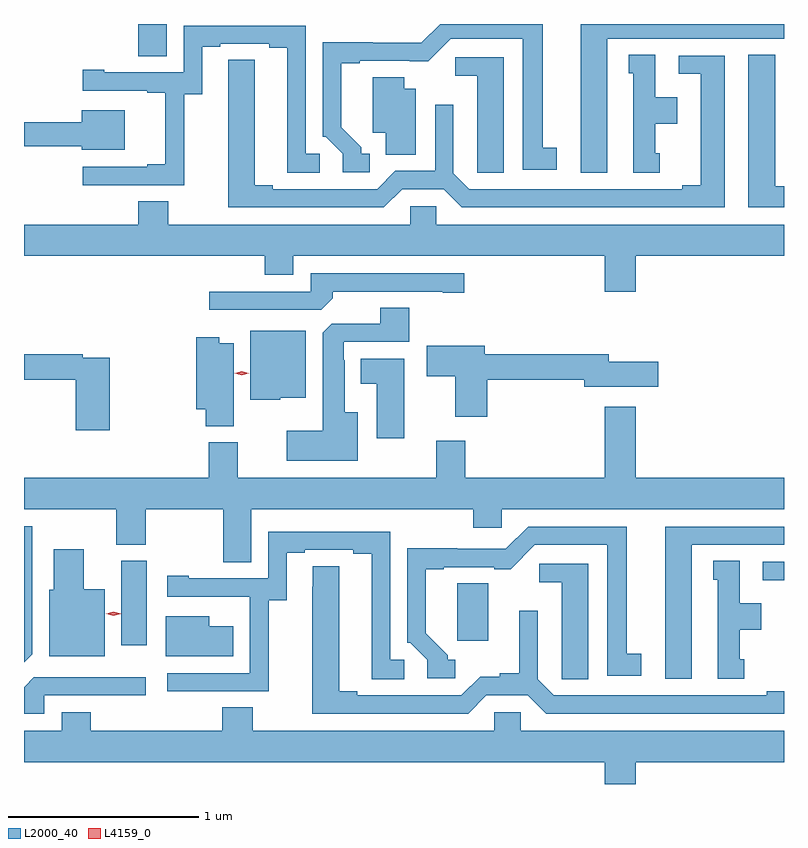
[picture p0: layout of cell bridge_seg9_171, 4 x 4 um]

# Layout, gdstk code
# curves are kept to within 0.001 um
import gdstk
lib = gdstk.Library(unit=1e-6, precision=1e-09)
def R(c, l, rs):  # rectangles x0, y0, x1, y1
    for r in rs: c.add(gdstk.rectangle(r[:2], r[2:], *l))
def P(c, l, *ps):  # polygons
    for p in ps: c.add(gdstk.Polygon(p, *l))
L2000_40 = (2000, 40)
L4159_0 = (4159, 0)

bridge_seg9_171 = lib.new_cell('bridge_seg9_171')
R(bridge_seg9_171, L2000_40, [(186.44,1235.664,186.574,1236.108), (189.816,1236.006,189.927,1236.102), (186.527,1238.764,186.679,1238.933)])
P(bridge_seg9_171, L2000_40, [(187.747,1238.25),(187.702,1238.25),(187.702,1238.285),(187.597,1238.39),(187.597,1238.727),(187.693,1238.727),(187.693,1238.739),(188.054,1238.738),(188.172,1238.856),(188.552,1238.856),(188.552,1238.166),(188.731,1238.166),(188.731,1238.282),(188.656,1238.282),(188.656,1238.933),(188.117,1238.933),(188.019,1238.835),(187.763,1238.835),(187.763,1238.837),(187.5,1238.837),(187.5,1238.34),(187.515,1238.34),(187.605,1238.25),(187.605,1238.154),(187.747,1238.154)],
  [(188.998,1238.856),(189.927,1238.856),(189.927,1238.933),(188.858,1238.933),(188.858,1238.151),(188.998,1238.151)],
  [(186.771,1238.563),(186.865,1238.563),(186.865,1238.814),(186.961,1238.814),(186.961,1238.829),(187.217,1238.829),(187.217,1238.809),(187.313,1238.809),(187.313,1238.149),(187.483,1238.149),(187.483,1238.25),(187.41,1238.25),(187.41,1238.925),(186.768,1238.925),(186.768,1238.679),(186.349,1238.679),(186.349,1238.692),(186.237,1238.692),(186.237,1238.583),(186.575,1238.583),(186.575,1238.571),(186.671,1238.571),(186.671,1238.194),(186.575,1238.194),(186.575,1238.181),(186.237,1238.181),(186.237,1238.085),(186.771,1238.085)],
  [(189.274,1238.253),(189.25,1238.253),(189.25,1238.408),(189.364,1238.408),(189.364,1238.548),(189.25,1238.548),(189.25,1238.771),(189.11,1238.771),(189.11,1238.673),(189.134,1238.673),(189.134,1238.151),(189.274,1238.151)],
  [(189.927,1238.079),(189.88,1238.079),(189.88,1238.771),(189.74,1238.771),(189.74,1237.968),(189.927,1237.968)],
  [(187.917,1238.064),(188.135,1238.064),(188.231,1237.968),(189.616,1237.968),(189.616,1238.766),(189.372,1238.766),(189.372,1238.67),(189.488,1238.67),(189.488,1238.084),(189.392,1238.084),(189.392,1238.064),(188.271,1238.064),(188.187,1238.148),(188.187,1238.509),(188.091,1238.509),(188.091,1238.16),(187.881,1238.16),(187.785,1238.064),(187.237,1238.064),(187.237,1238.084),(187.141,1238.084),(187.141,1238.744),(187.002,1238.744),(187.001,1237.968),(187.821,1237.968)],
  [(188.452,1238.757),(188.196,1238.757),(188.196,1238.66),(188.312,1238.66),(188.312,1238.257),(188.313,1238.257),(188.313,1238.149),(188.452,1238.149)],
  [(187.99,1238.593),(187.927,1238.593),(187.927,1238.654),(187.763,1238.654),(187.763,1238.36),(187.832,1238.36),(187.832,1238.245),(187.99,1238.245)],
  [(186.457,1238.479),(186.23,1238.479),(186.23,1238.417),(185.927,1238.417),(185.927,1238.289),(186.23,1238.289),(186.23,1238.27),(186.457,1238.27)],
  [(189.148,1237.712),(189.927,1237.712),(189.927,1237.876),(188.097,1237.876),(188.097,1237.974),(187.959,1237.974),(187.959,1237.876),(186.687,1237.876),(186.687,1238),(186.527,1238),(186.527,1237.876),(185.927,1237.876),(185.927,1237.712),(187.193,1237.712),(187.193,1237.613),(187.345,1237.613),(187.345,1237.712),(188.984,1237.712),(188.984,1237.524),(189.148,1237.524)],
  [(187.553,1237.49),(187.553,1237.524),(188.132,1237.524),(188.132,1237.519),(188.245,1237.519),(188.245,1237.62),(187.437,1237.62),(187.437,1237.524),(186.903,1237.524),(186.903,1237.428),(187.491,1237.428)],
  [(187.684,1236.889),(187.615,1236.889),(187.615,1237.163),(187.611,1237.163),(187.611,1237.26),(187.955,1237.26),(187.955,1237.439),(187.802,1237.439),(187.802,1237.356),(187.548,1237.356),(187.499,1237.307),(187.499,1236.793),(187.311,1236.793),(187.311,1236.635),(187.684,1236.635)],
  [(187.275,1236.965),(187.411,1236.965),(187.411,1237.318),(187.118,1237.318),(187.118,1236.956),(187.275,1236.956)],
  [(187.03,1237.252),(186.955,1237.252),(186.955,1237.285),(186.833,1237.285),(186.833,1236.905),(186.884,1236.905),(186.884,1236.817),(187.03,1236.817)],
  [(188.366,1237.06),(188.876,1237.06),(188.876,1237.025),(189.265,1237.025),(189.265,1237.155),(189.004,1237.155),(189.004,1237.196),(188.353,1237.196),(188.353,1237.24),(188.046,1237.24),(188.046,1237.078),(188.198,1237.078),(188.198,1236.867),(188.366,1236.867)],
  [(186.378,1237.176),(186.236,1237.176),(186.236,1237.196),(185.927,1237.196),(185.927,1237.06),(186.2,1237.06),(186.2,1236.795),(186.378,1236.795)],
  [(187.927,1237.171),(187.7,1237.171),(187.7,1237.04),(187.784,1237.04),(187.784,1236.753),(187.927,1236.753)],
  [(187.123,1236.38),(188.291,1236.38),(188.291,1236.282),(188.442,1236.282),(188.442,1236.38),(189.927,1236.38),(189.927,1236.544),(189.148,1236.544),(189.148,1236.919),(188.984,1236.919),(188.984,1236.544),(188.249,1236.544),(188.249,1236.739),(188.096,1236.739),(188.096,1236.544),(187.051,1236.544),(187.051,1236.732),(186.899,1236.732),(186.899,1236.544),(185.927,1236.544),(185.927,1236.38),(186.412,1236.38),(186.412,1236.193),(186.567,1236.193),(186.567,1236.38),(186.976,1236.38),(186.976,1236.1),(187.123,1236.1)],
  [(185.971,1235.617),(185.971,1236.289),(185.927,1236.289),(185.927,1235.573)],
  [(189.442,1236.192),(189.927,1236.192),(189.927,1236.288),(189.302,1236.288),(189.302,1235.487),(189.442,1235.487)],
  [(188.197,1235.586),(188.158,1235.586),(188.158,1235.61),(188.041,1235.726),(188.041,1236.063),(188.137,1236.063),(188.137,1236.075),(188.402,1236.075),(188.402,1236.064),(188.488,1236.064),(188.616,1236.192),(188.996,1236.192),(188.996,1235.502),(189.175,1235.502),(189.175,1235.618),(189.1,1235.618),(189.1,1236.288),(188.58,1236.288),(188.463,1236.171),(188.207,1236.171),(188.207,1236.173),(187.944,1236.173),(187.944,1235.676),(187.959,1235.676),(188.049,1235.586),(188.049,1235.49),(188.197,1235.49)],
  [(187.215,1235.899),(187.309,1235.899),(187.309,1236.15),(187.405,1236.15),(187.405,1236.165),(187.661,1236.165),(187.661,1236.145),(187.757,1236.145),(187.757,1235.485),(187.927,1235.485),(187.927,1235.586),(187.854,1235.586),(187.854,1236.261),(187.212,1236.261),(187.212,1236.015),(186.793,1236.015),(186.793,1236.028),(186.681,1236.028),(186.681,1235.919),(187.115,1235.919),(187.115,1235.918),(187.116,1235.918),(187.116,1235.517),(186.681,1235.517),(186.681,1235.421),(187.215,1235.421)],
  [(186.352,1235.959),(186.241,1235.959),(186.241,1236.169),(186.083,1236.169),(186.083,1235.955),(186.059,1235.955),(186.059,1235.606),(186.352,1235.606)],
  [(189.718,1235.589),(189.694,1235.589),(189.694,1235.744),(189.808,1235.744),(189.808,1235.884),(189.694,1235.884),(189.694,1236.107),(189.554,1236.107),(189.554,1236.009),(189.578,1236.009),(189.578,1235.487),(189.718,1235.487)],
  [(188.896,1236.093),(188.64,1236.093),(188.64,1235.996),(188.756,1235.996),(188.756,1235.593),(188.757,1235.593),(188.757,1235.485),(188.896,1235.485)],
  [(188.361,1235.4),(188.579,1235.4),(188.675,1235.304),(189.927,1235.304),(189.927,1235.42),(189.836,1235.42),(189.836,1235.4),(188.715,1235.4),(188.631,1235.484),(188.631,1235.845),(188.534,1235.845),(188.534,1235.516),(188.43,1235.516),(188.43,1235.498),(188.327,1235.498),(188.229,1235.4),(187.681,1235.4),(187.681,1235.42),(187.585,1235.42),(187.585,1236.08),(187.446,1236.08),(187.445,1235.304),(188.265,1235.304)],
  [(188.371,1235.832),(188.37,1235.832),(188.37,1235.99),(188.207,1235.99),(188.207,1235.688),(188.371,1235.688)],
  [(187.027,1235.764),(186.901,1235.764),(186.901,1235.815),(186.674,1235.815),(186.674,1235.606),(187.027,1235.606)],
  [(186.033,1235.4),(186.568,1235.4),(186.568,1235.496),(185.979,1235.496),(185.927,1235.443),(185.927,1235.304),(186.033,1235.304)],
  [(189.148,1235.048),(189.927,1235.048),(189.927,1235.212),(188.541,1235.212),(188.541,1235.31),(188.403,1235.31),(188.403,1235.212),(187.131,1235.212),(187.131,1235.336),(186.971,1235.336),(186.971,1235.212),(186.278,1235.212),(186.278,1235.311),(186.125,1235.311),(186.125,1235.212),(185.927,1235.212),(185.927,1235.048),(188.984,1235.048),(188.984,1234.933),(189.148,1234.933)])
P(bridge_seg9_171, L4159_0, [(187.073,1237.085),(187.036,1237.095),(187.036,1237.095),(187.036,1237.095),(187.073,1237.105),(187.111,1237.095),(187.111,1237.095),(187.111,1237.095)],
  [(186.398,1235.819),(186.359,1235.829),(186.358,1235.829),(186.359,1235.829),(186.398,1235.839),(186.438,1235.829),(186.438,1235.829),(186.438,1235.828)])

lib.write_gds('bridge_seg9_171.gds')
